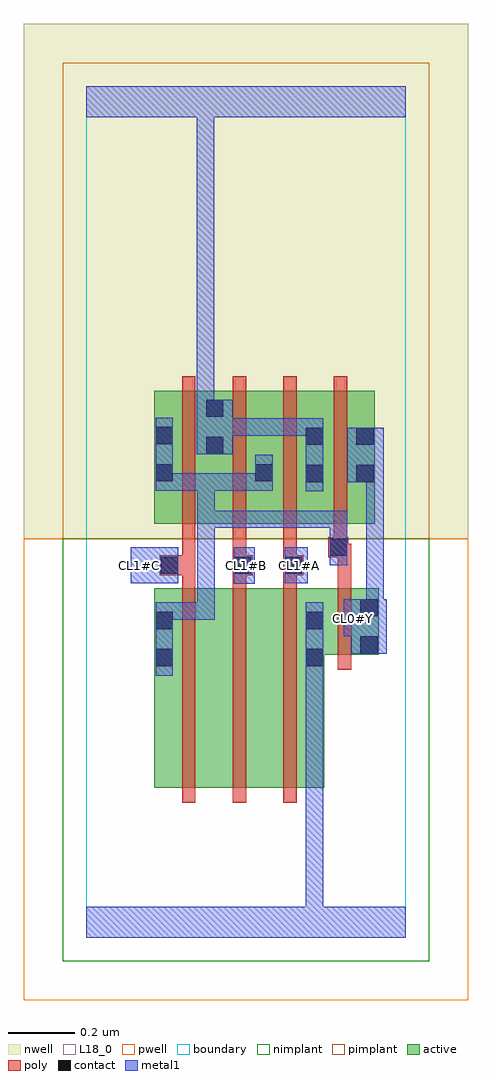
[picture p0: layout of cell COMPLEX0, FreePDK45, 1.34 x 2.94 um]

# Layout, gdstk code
import gdstk
lib = gdstk.Library(unit=1e-6, precision=1e-09)
def R(c, l, rs):  # rectangles x0, y0, x1, y1
    for r in rs: c.add(gdstk.rectangle(r[:2], r[2:], *l))
def A(c, l, x, y, w, h, nx, ny, dx, dy):  # array of equal rectangles
    R(c, l, [(x+i*dx, y+j*dy, x+i*dx+w, y+j*dy+h) for i in range(nx) for j in range(ny)])
active = (1, 0)
pwell = (2, 0)
nwell = (3, 0)
nimplant = (4, 0)
pimplant = (5, 0)
poly = (9, 0)
contact = (10, 0)
metal1 = (11, 0)
L18_0 = (18, 0)
boundary = (235, 0)

complex0 = lib.new_cell('COMPLEX0')
A(complex0, active, 0.504, 1.244, 0.06, 0.4, 3, 1, 0.152, 0)
R(complex0, active, [(0.204,0.45,0.384,1.05), (0.384,0.45,0.536,1.05), (0.536,0.45,0.716,1.05), (0.656,0.45,0.716,0.984), (0.204,0.556,0.264,1.05), (0.656,0.85,0.88,1.05), (0.82,0.85,0.88,1.05), (0.204,1.244,0.264,1.644), (0.204,1.244,0.416,1.644), (0.356,1.244,0.416,1.644), (0.356,1.244,0.564,1.644), (0.504,1.244,0.716,1.644), (0.656,1.244,0.868,1.644)])
R(complex0, pwell, [(-0.188,-0.188,1.148,1.2)])
R(complex0, nwell, [(-0.188,1.2,1.148,2.748)])
R(complex0, nimplant, [(-0.072,-0.072,1.032,1.2)])
R(complex0, pimplant, [(-0.072,1.2,1.032,2.632)])
A(complex0, poly, 0.288, 0.406, 0.04, 0.688, 3, 1, 0.152, 0)
A(complex0, poly, 0.288, 1.054, 0.04, 0.076, 3, 1, 0.152, 0)
A(complex0, poly, 0.288, 1.11, 0.04, 0.13, 3, 1, 0.152, 0)
A(complex0, poly, 0.288, 1.2, 0.04, 0.488, 4, 1, 0.152, 0)
R(complex0, poly, [(0.756,0.806,0.796,1.094), (0.756,1.054,0.796,1.184), (0.22,1.09,0.328,1.15), (0.44,1.09,0.5,1.15), (0.592,1.09,0.652,1.15), (0.288,1.11,0.328,1.15), (0.288,1.11,0.328,1.15), (0.44,1.11,0.48,1.15), (0.44,1.11,0.48,1.15), (0.592,1.11,0.632,1.15), (0.592,1.11,0.632,1.15), (0.728,1.144,0.788,1.204), (0.748,1.144,0.788,1.184), (0.748,1.144,0.796,1.184), (0.744,1.164,0.784,1.24)])
R(complex0, contact, [(0.208,0.816,0.26,0.868), (0.66,0.816,0.712,0.868), (0.824,0.854,0.876,0.906), (0.208,0.928,0.26,0.98), (0.66,0.928,0.712,0.98), (0.824,0.966,0.876,1.018), (0.224,1.094,0.276,1.146), (0.444,1.094,0.496,1.146), (0.596,1.094,0.648,1.146), (0.732,1.148,0.784,1.2), (0.66,1.37,0.712,1.422), (0.812,1.37,0.864,1.422), (0.208,1.372,0.26,1.424), (0.508,1.372,0.56,1.424), (0.36,1.454,0.412,1.506), (0.66,1.482,0.712,1.534), (0.812,1.482,0.864,1.534), (0.208,1.484,0.26,1.536), (0.36,1.566,0.412,1.618)])
R(complex0, metal1, [(0,0,0.96,0.092), (0.66,0.04,0.712,0.092), (0.66,0.04,0.712,0.092), (0.66,0.04,0.712,0.84), (0.208,0.788,0.26,1.008), (0.66,0.788,0.712,0.84), (0.66,0.788,0.712,0.84), (0.66,0.788,0.712,0.84), (0.66,0.788,0.712,0.84), (0.66,0.788,0.712,0.84), (0.66,0.788,0.712,0.84), (0.66,0.788,0.712,1.008), (0.796,0.854,0.904,1.018), (0.774,0.906,0.894,1.018), (0.208,0.956,0.26,1.008), (0.208,0.956,0.26,1.008), (0.208,0.956,0.386,1.008), (0.334,0.956,0.386,1.008), (0.334,0.956,0.386,1.008), (0.334,0.956,0.386,1.008), (0.334,0.956,0.386,1.284), (0.796,0.966,0.848,1.018), (0.842,0.966,0.894,1.422), (0.842,0.966,0.894,1.018), (0.842,0.966,0.894,1.018), (0.444,1.064,0.506,1.174), (0.134,1.066,0.276,1.174), (0.596,1.066,0.666,1.174), (0.732,1.12,0.784,1.284), (0.334,1.232,0.386,1.284), (0.334,1.232,0.386,1.284), (0.334,1.232,0.386,1.284), (0.334,1.232,0.386,1.396), (0.334,1.232,0.55,1.284), (0.498,1.232,0.55,1.284), (0.498,1.232,0.66,1.284), (0.608,1.232,0.66,1.284), (0.608,1.232,0.66,1.284), (0.608,1.232,0.66,1.284), (0.608,1.232,0.784,1.284), (0.66,1.342,0.712,1.562), (0.208,1.344,0.26,1.396), (0.208,1.344,0.26,1.396), (0.208,1.344,0.26,1.564), (0.208,1.344,0.386,1.396), (0.334,1.344,0.386,1.396), (0.334,1.344,0.386,1.396), (0.334,1.344,0.386,1.396), (0.334,1.344,0.56,1.396), (0.508,1.344,0.56,1.452), (0.784,1.37,0.894,1.534), (0.332,1.454,0.44,1.618), (0.388,1.51,0.44,1.562), (0.388,1.51,0.44,1.562), (0.388,1.51,0.55,1.562), (0.498,1.51,0.55,1.562), (0.498,1.51,0.55,1.562), (0.498,1.51,0.55,1.562), (0.498,1.51,0.712,1.562), (0.332,1.566,0.384,1.618), (0.332,1.566,0.384,1.618), (0.332,1.566,0.384,2.52), (0,2.468,0.96,2.56), (0.332,2.468,0.384,2.52), (0.332,2.468,0.384,2.52), (0.332,2.468,0.384,2.52), (0.332,2.468,0.384,2.52), (0.332,2.468,0.384,2.52), (0.332,2.468,0.384,2.52), (0.332,2.468,0.384,2.52), (0.332,2.468,0.384,2.52), (0.332,2.468,0.384,2.52), (0.332,2.468,0.384,2.52), (0.332,2.468,0.384,2.52), (0.332,2.468,0.384,2.52), (0.332,2.468,0.384,2.52), (0.332,2.468,0.384,2.52)])
R(complex0, L18_0, [(0,0,0.96,0.092), (0.66,0.04,0.712,0.092), (0.66,0.04,0.712,0.092), (0.66,0.04,0.712,0.84), (0.66,0.788,0.712,0.84), (0.66,0.788,0.712,0.84), (0.66,0.788,0.712,0.84), (0.66,0.788,0.712,0.84), (0.66,0.788,0.712,0.84), (0.66,0.788,0.712,0.84), (0.66,0.788,0.712,1.008), (0.796,0.854,0.904,1.018), (0.774,0.906,0.894,1.018), (0.774,0.934,0.826,0.986), (0.796,0.966,0.848,1.018), (0.842,0.966,0.894,1.018), (0.842,0.966,0.894,1.018), (0.842,0.966,0.894,1.422), (0.444,1.064,0.506,1.174), (0.134,1.066,0.276,1.174), (0.596,1.066,0.666,1.174), (0.134,1.094,0.186,1.146), (0.454,1.094,0.506,1.146), (0.614,1.094,0.666,1.146), (0.66,1.342,0.712,1.562), (0.784,1.37,0.894,1.534), (0.332,1.454,0.44,1.618), (0.388,1.51,0.44,1.562), (0.388,1.51,0.44,1.562), (0.388,1.51,0.55,1.562), (0.498,1.51,0.55,1.562), (0.498,1.51,0.55,1.562), (0.498,1.51,0.55,1.562), (0.498,1.51,0.712,1.562), (0.332,1.566,0.384,1.618), (0.332,1.566,0.384,1.618), (0.332,1.566,0.384,2.52), (0,2.468,0.96,2.56), (0.332,2.468,0.384,2.52), (0.332,2.468,0.384,2.52), (0.332,2.468,0.384,2.52), (0.332,2.468,0.384,2.52), (0.332,2.468,0.384,2.52), (0.332,2.468,0.384,2.52), (0.332,2.468,0.384,2.52), (0.332,2.468,0.384,2.52), (0.332,2.468,0.384,2.52), (0.332,2.468,0.384,2.52), (0.332,2.468,0.384,2.52), (0.332,2.468,0.384,2.52), (0.332,2.468,0.384,2.52), (0.332,2.468,0.384,2.52)])
R(complex0, boundary, [(0,0,0.96,2.56)])
complex0.add(gdstk.Label('CL0#Y', (0.8,0.96), layer=11, texttype=0))
complex0.add(gdstk.Label('CL1#A', (0.64,1.12), layer=11, texttype=0))
complex0.add(gdstk.Label('CL1#B', (0.48,1.12), layer=11, texttype=0))
complex0.add(gdstk.Label('CL1#C', (0.16,1.12), layer=11, texttype=0))

lib.write_gds('COMPLEX0.gds')
